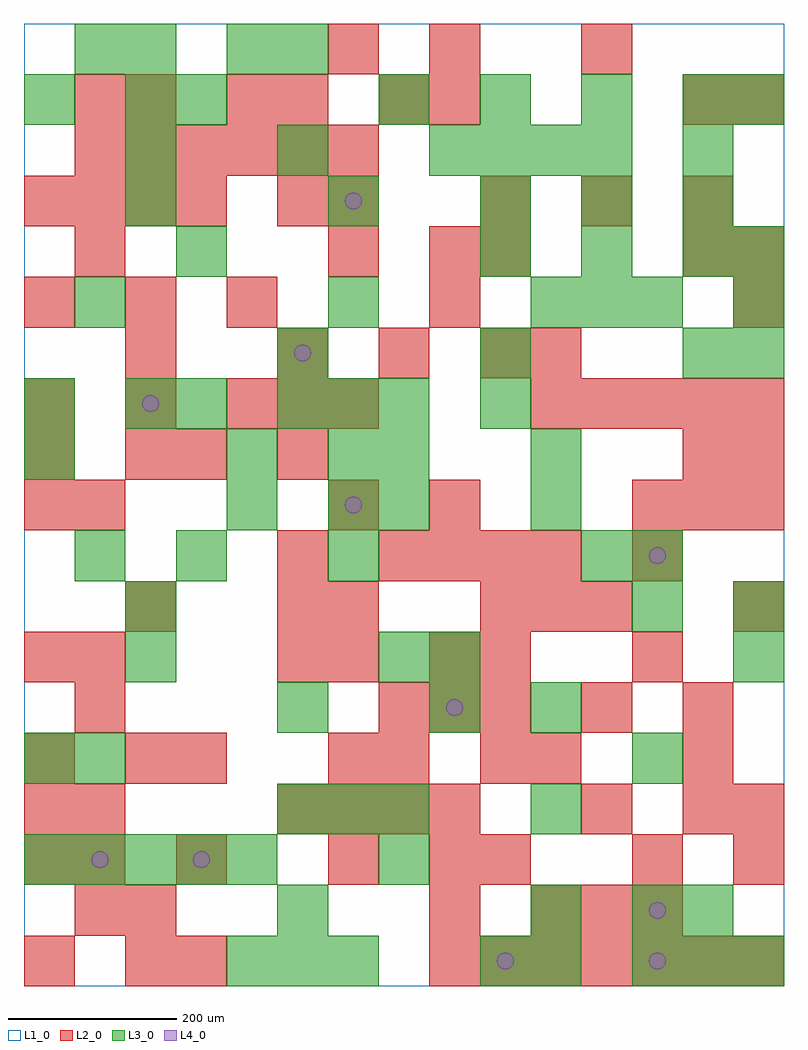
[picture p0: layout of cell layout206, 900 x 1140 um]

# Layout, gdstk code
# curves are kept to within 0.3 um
import gdstk
lib = gdstk.Library(unit=1e-6, precision=1e-09)
def R(c, l, rs):  # rectangles x0, y0, x1, y1
    for r in rs: c.add(gdstk.rectangle(r[:2], r[2:], *l))
def A(c, l, x, y, w, h, nx, ny, dx, dy):  # array of equal rectangles
    R(c, l, [(x+i*dx, y+j*dy, x+i*dx+w, y+j*dy+h) for i in range(nx) for j in range(ny)])
def P(c, l, *ps):  # polygons
    for p in ps: c.add(gdstk.Polygon(p, *l))
L1_0 = (1, 0)
L2_0 = (2, 0)
L3_0 = (3, 0)
L4_0 = (4, 0)

layout206 = lib.new_cell('layout206')
R(layout206, L1_0, [(0,0,900,1140)])
A(layout206, L2_0, 180, 0, 60, 60, 1, 3, 0, 120)
A(layout206, L2_0, 480, 0, 60, 60, 7, 1, 60, 0)
A(layout206, L2_0, 60, 60, 60, 60, 1, 3, 0, 60)
A(layout206, L2_0, 120, 60, 60, 60, 1, 4, 0, 180)
A(layout206, L2_0, 600, 60, 60, 60, 3, 1, 60, 0)
A(layout206, L2_0, 0, 120, 60, 60, 1, 3, 0, 60)
A(layout206, L2_0, 360, 120, 60, 60, 1, 3, 0, 120)
A(layout206, L2_0, 540, 120, 60, 60, 1, 3, 0, 120)
A(layout206, L2_0, 300, 180, 60, 60, 4, 1, 60, 0)
A(layout206, L2_0, 780, 180, 60, 60, 1, 3, 0, 60)
A(layout206, L2_0, 420, 300, 60, 60, 3, 1, 60, 0)
A(layout206, L2_0, 300, 360, 60, 60, 1, 3, 0, 60)
A(layout206, L2_0, 360, 420, 60, 60, 1, 3, 0, 120)
A(layout206, L2_0, 540, 420, 60, 60, 3, 1, 60, 0)
A(layout206, L2_0, 840, 420, 60, 60, 1, 3, 0, 180)
A(layout206, L2_0, 420, 480, 60, 60, 4, 1, 60, 0)
A(layout206, L2_0, 720, 540, 60, 60, 3, 1, 60, 0)
A(layout206, L2_0, 0, 660, 60, 60, 3, 2, 120, 120)
A(layout206, L2_0, 600, 660, 60, 60, 5, 1, 60, 0)
A(layout206, L2_0, 300, 720, 60, 60, 3, 1, 120, 0)
A(layout206, L2_0, 0, 900, 60, 60, 4, 1, 60, 0)
A(layout206, L2_0, 540, 900, 60, 60, 3, 1, 120, 0)
A(layout206, L2_0, 60, 960, 60, 60, 6, 1, 60, 0)
R(layout206, L2_0, [(0,0,60,60), (120,0,180,60), (480,60,540,120), (480,120,540,180), (720,120,780,180), (840,120,900,180), (660,180,720,240), (840,180,900,240), (420,240,480,300), (600,240,660,300), (60,300,120,360), (660,300,720,360), (0,360,60,420), (60,360,120,420), (480,360,540,420), (720,360,780,420), (720,480,780,540), (0,540,60,600), (60,540,120,600), (480,540,540,600), (0,600,60,660), (180,600,240,660), (300,600,360,660), (780,600,840,660), (300,660,360,720), (120,720,180,780), (600,720,660,780), (480,780,540,840), (60,840,120,900), (360,840,420,900), (480,840,540,900), (540,840,600,900), (780,840,840,900), (840,840,900,900), (300,900,360,960), (360,900,420,960), (60,1020,120,1080), (120,1020,180,1080), (240,1020,300,1080), (300,1020,360,1080), (420,1020,480,1080), (480,1020,540,1080), (780,1020,840,1080), (840,1020,900,1080), (360,1080,420,1140), (480,1080,540,1140), (660,1080,720,1140)])
A(layout206, L3_0, 240, 0, 60, 60, 3, 1, 60, 0)
A(layout206, L3_0, 720, 0, 60, 60, 3, 1, 60, 0)
A(layout206, L3_0, 600, 60, 60, 60, 1, 3, 0, 120)
A(layout206, L3_0, 720, 60, 60, 60, 1, 3, 0, 180)
A(layout206, L3_0, 0, 120, 60, 60, 5, 1, 60, 0)
A(layout206, L3_0, 300, 180, 60, 60, 3, 2, 60, 480)
A(layout206, L3_0, 120, 420, 60, 60, 1, 3, 0, 240)
A(layout206, L3_0, 60, 480, 60, 60, 1, 3, 0, 300)
A(layout206, L3_0, 180, 480, 60, 60, 1, 4, 0, 180)
A(layout206, L3_0, 360, 480, 60, 60, 1, 3, 0, 60)
A(layout206, L3_0, 300, 720, 60, 60, 3, 1, 240, 0)
A(layout206, L3_0, 840, 720, 60, 60, 1, 3, 0, 60)
A(layout206, L3_0, 600, 780, 60, 60, 3, 1, 60, 0)
A(layout206, L3_0, 540, 840, 60, 60, 3, 2, 120, 60)
A(layout206, L3_0, 120, 960, 60, 60, 3, 1, 180, 0)
A(layout206, L3_0, 540, 960, 60, 60, 3, 1, 60, 0)
A(layout206, L3_0, 420, 1020, 60, 60, 4, 1, 120, 0)
R(layout206, L3_0, [(540,0,600,60), (600,0,660,60), (300,60,360,120), (780,60,840,120), (420,120,480,180), (0,240,60,300), (60,240,120,300), (300,300,360,360), (480,300,540,360), (120,360,180,420), (420,360,480,420), (480,360,540,420), (840,360,900,420), (840,420,900,480), (660,480,720,540), (720,480,780,540), (240,540,300,600), (420,540,480,600), (600,540,660,600), (0,600,60,660), (240,600,300,660), (420,600,480,660), (600,600,660,660), (0,660,60,720), (540,660,600,720), (360,780,420,840), (360,900,420,960), (780,960,840,1020), (0,1020,60,1080), (120,1020,180,1080), (840,1020,900,1080), (120,1080,180,1140), (240,1080,300,1140), (300,1080,360,1140)])
P(layout206, L4_0, [(100,150),(99.239,153.827),(97.071,157.071),(93.827,159.239),(90,160),(86.173,159.239),(82.929,157.071),(80.761,153.827),(80,150),(80.761,146.173),(82.929,142.929),(86.173,140.761),(90,140),(93.827,140.761),(97.071,142.929),(99.239,146.173)],
  [(160,690),(159.239,693.827),(157.071,697.071),(153.827,699.239),(150,700),(146.173,699.239),(142.929,697.071),(140.761,693.827),(140,690),(140.761,686.173),(142.929,682.929),(146.173,680.761),(150,680),(153.827,680.761),(157.071,682.929),(159.239,686.173)],
  [(220,150),(219.239,153.827),(217.071,157.071),(213.827,159.239),(210,160),(206.173,159.239),(202.929,157.071),(200.761,153.827),(200,150),(200.761,146.173),(202.929,142.929),(206.173,140.761),(210,140),(213.827,140.761),(217.071,142.929),(219.239,146.173)],
  [(340,750),(339.239,753.827),(337.071,757.071),(333.827,759.239),(330,760),(326.173,759.239),(322.929,757.071),(320.761,753.827),(320,750),(320.761,746.173),(322.929,742.929),(326.173,740.761),(330,740),(333.827,740.761),(337.071,742.929),(339.239,746.173)],
  [(400,570),(399.239,573.827),(397.071,577.071),(393.827,579.239),(390,580),(386.173,579.239),(382.929,577.071),(380.761,573.827),(380,570),(380.761,566.173),(382.929,562.929),(386.173,560.761),(390,560),(393.827,560.761),(397.071,562.929),(399.239,566.173)],
  [(400,930),(399.239,933.827),(397.071,937.071),(393.827,939.239),(390,940),(386.173,939.239),(382.929,937.071),(380.761,933.827),(380,930),(380.761,926.173),(382.929,922.929),(386.173,920.761),(390,920),(393.827,920.761),(397.071,922.929),(399.239,926.173)],
  [(520,330),(519.239,333.827),(517.071,337.071),(513.827,339.239),(510,340),(506.173,339.239),(502.929,337.071),(500.761,333.827),(500,330),(500.761,326.173),(502.929,322.929),(506.173,320.761),(510,320),(513.827,320.761),(517.071,322.929),(519.239,326.173)],
  [(580,30),(579.239,33.827),(577.071,37.071),(573.827,39.239),(570,40),(566.173,39.239),(562.929,37.071),(560.761,33.827),(560,30),(560.761,26.173),(562.929,22.929),(566.173,20.761),(570,20),(573.827,20.761),(577.071,22.929),(579.239,26.173)],
  [(760,30),(759.239,33.827),(757.071,37.071),(753.827,39.239),(750,40),(746.173,39.239),(742.929,37.071),(740.761,33.827),(740,30),(740.761,26.173),(742.929,22.929),(746.173,20.761),(750,20),(753.827,20.761),(757.071,22.929),(759.239,26.173)],
  [(760,90),(759.239,93.827),(757.071,97.071),(753.827,99.239),(750,100),(746.173,99.239),(742.929,97.071),(740.761,93.827),(740,90),(740.761,86.173),(742.929,82.929),(746.173,80.761),(750,80),(753.827,80.761),(757.071,82.929),(759.239,86.173)],
  [(760,510),(759.239,513.827),(757.071,517.071),(753.827,519.239),(750,520),(746.173,519.239),(742.929,517.071),(740.761,513.827),(740,510),(740.761,506.173),(742.929,502.929),(746.173,500.761),(750,500),(753.827,500.761),(757.071,502.929),(759.239,506.173)])

lib.write_gds('layout206.gds')
